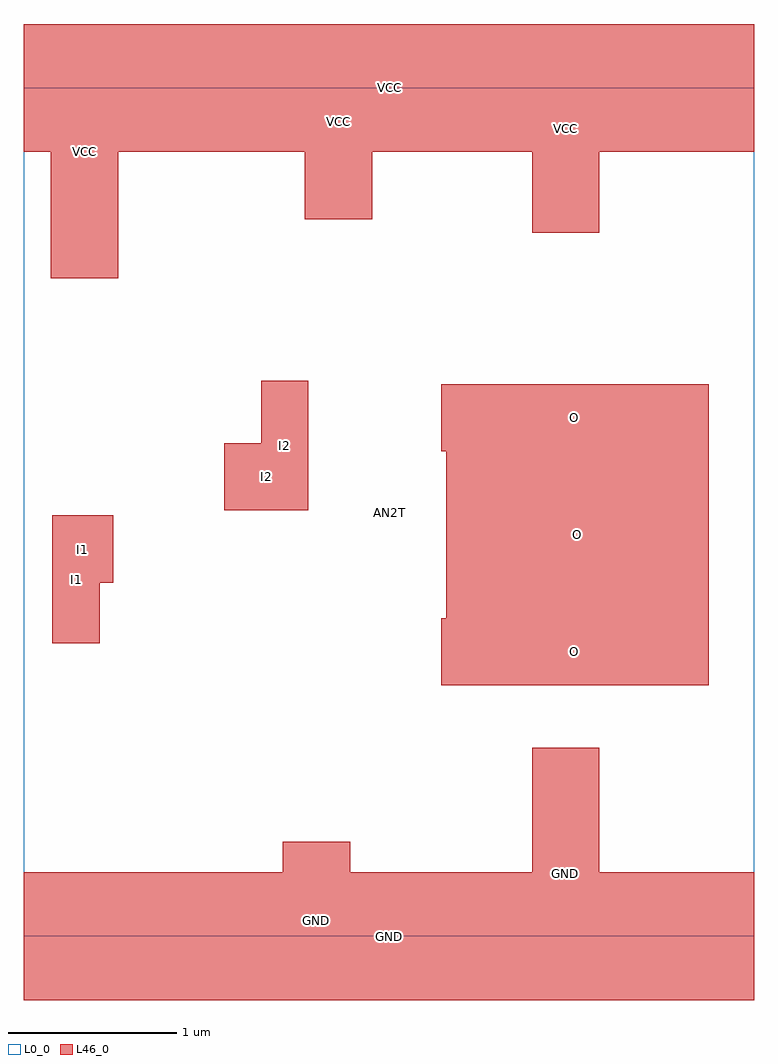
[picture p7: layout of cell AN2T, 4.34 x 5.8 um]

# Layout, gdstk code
import gdstk
lib = gdstk.Library(unit=1e-6, precision=1e-09)
def R(c, l, rs):  # rectangles x0, y0, x1, y1
    for r in rs: c.add(gdstk.rectangle(r[:2], r[2:], *l))
L0_0 = (0, 0)
L46_0 = (46, 0)

an2t = lib.new_cell('AN2T')
R(an2t, L0_0, [(0,0,4.34,5.04)])
R(an2t, L46_0, [(0,-0.38,4.34,0.38), (1.54,-0.38,1.94,0.56), (3.02,-0.38,3.42,1.12), (2.48,1.49,4.07,1.89), (2.51,1.49,4.07,3.28), (0.17,1.74,0.45,2.5), (0.17,2.1,0.53,2.5), (1.19,2.53,1.69,2.93), (1.41,2.53,1.69,3.3), (2.48,2.88,4.07,3.28), (0.16,3.91,0.56,5.42), (3.02,4.18,3.42,5.42), (1.67,4.26,2.07,5.42), (0,4.66,4.34,5.42)])
an2t.add(gdstk.Label('AN2T', (2.17,2.52), layer=0, texttype=0))
an2t.add(gdstk.Label('O', (3.29,2.385), layer=101, texttype=0))
an2t.add(gdstk.Label('O', (3.275,3.08), layer=101, texttype=0))
an2t.add(gdstk.Label('O', (3.275,1.69), layer=101, texttype=0))
an2t.add(gdstk.Label('I2', (1.55,2.915), layer=101, texttype=0))
an2t.add(gdstk.Label('I2', (1.44,2.73), layer=101, texttype=0))
an2t.add(gdstk.Label('I1', (0.35,2.3), layer=101, texttype=0))
an2t.add(gdstk.Label('I1', (0.31,2.12), layer=101, texttype=0))
an2t.add(gdstk.Label('GND', (3.22,0.37), layer=101, texttype=0))
an2t.add(gdstk.Label('GND', (2.17,0), layer=101, texttype=0))
an2t.add(gdstk.Label('GND', (1.74,0.09), layer=101, texttype=0))
an2t.add(gdstk.Label('VCC', (1.87,4.84), layer=101, texttype=0))
an2t.add(gdstk.Label('VCC', (3.22,4.8), layer=101, texttype=0))
an2t.add(gdstk.Label('VCC', (2.17,5.04), layer=101, texttype=0))
an2t.add(gdstk.Label('VCC', (0.36,4.665), layer=101, texttype=0))

lib.write_gds('AN2T.gds')
